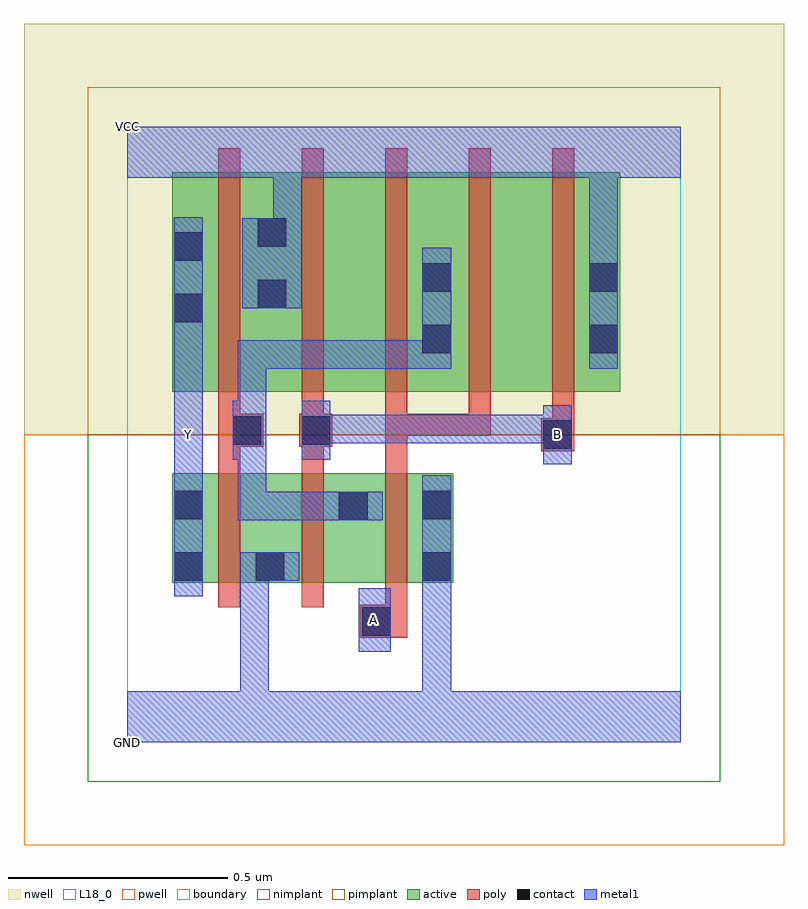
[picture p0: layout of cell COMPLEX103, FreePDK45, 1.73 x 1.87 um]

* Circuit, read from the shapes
.subckt COMPLEX103 A B GND VCC Y
M1 GND n1 Y VSUBS nfet w=0.25u l=0.05u
M2 n1 B GND VSUBS nfet w=0.25u l=0.05u
M3 GND A n1 VSUBS nfet w=0.25u l=0.05u
M4 VCC n1 Y n2 pfet w=0.5u l=0.05u
M5 n3 B VCC n2 pfet w=0.5u l=0.05u
M6 n1 A n3 n2 pfet w=0.5u l=0.05u
M7 n4 A n1 n2 pfet w=0.5u l=0.05u
M8 VCC B n4 n2 pfet w=0.5u l=0.05u
.ends

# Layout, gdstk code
import gdstk
lib = gdstk.Library(unit=1e-6, precision=1e-09)
def R(c, l, rs):  # rectangles x0, y0, x1, y1
    for r in rs: c.add(gdstk.rectangle(r[:2], r[2:], *l))
def A(c, l, x, y, w, h, nx, ny, dx, dy):  # array of equal rectangles
    R(c, l, [(x+i*dx, y+j*dy, x+i*dx+w, y+j*dy+h) for i in range(nx) for j in range(ny)])
active = (1, 0)
pwell = (2, 0)
nwell = (3, 0)
nimplant = (4, 0)
pimplant = (5, 0)
poly = (9, 0)
contact = (10, 0)
metal1 = (11, 0)
L18_0 = (18, 0)
boundary = (235, 0)

complex103 = lib.new_cell('COMPLEX103')
R(complex103, active, [(0.102,0.362,0.177,0.612), (0.102,0.362,0.362,0.612), (0.287,0.362,0.552,0.612), (0.287,0.362,0.362,0.497), (0.477,0.362,0.742,0.612), (0.667,0.362,0.742,0.612), (0.477,0.395,0.552,0.575), (0.102,0.797,0.367,1.297), (0.102,0.797,0.177,1.2), (0.292,0.797,0.517,1.297), (0.517,0.797,0.742,1.297), (0.667,0.797,0.897,1.297), (0.897,0.797,1.122,1.297), (1.047,0.797,1.122,1.255), (0.292,0.807,0.367,1.255), (0.667,0.807,0.742,1.2)])
R(complex103, pwell, [(-0.235,-0.235,1.495,0.7)])
R(complex103, nwell, [(-0.235,0.7,1.495,1.635)])
R(complex103, nimplant, [(-0.09,-0.09,1.35,0.7)])
R(complex103, pimplant, [(-0.09,0.7,1.35,1.49)])
A(complex103, poly, 0.207, 0.307, 0.05, 0.36, 3, 1, 0.19, 0)
A(complex103, poly, 0.207, 0.697, 0.05, 0.095, 4, 1, 0.19, 0)
A(complex103, poly, 0.207, 0.742, 0.05, 0.61, 5, 1, 0.19, 0)
R(complex103, poly, [(0.53,0.237,0.637,0.312), (0.587,0.262,0.637,0.357), (0.207,0.617,0.257,0.722), (0.397,0.617,0.447,0.722), (0.587,0.617,0.637,0.747), (0.942,0.662,1.017,0.737), (0.207,0.672,0.31,0.747), (0.392,0.672,0.467,0.747), (0.967,0.687,1.017,0.792), (0.587,0.697,0.637,0.747), (0.587,0.697,0.827,0.747), (0.777,0.697,0.827,0.747), (0.777,0.697,0.827,0.747), (0.777,0.697,0.827,0.747)])
R(complex103, contact, [(0.535,0.242,0.6,0.307), (0.107,0.367,0.172,0.432), (0.292,0.367,0.357,0.432), (0.672,0.367,0.737,0.432), (0.482,0.505,0.547,0.57), (0.107,0.507,0.172,0.572), (0.672,0.507,0.737,0.572), (0.947,0.667,1.012,0.732), (0.24,0.677,0.305,0.742), (0.397,0.677,0.462,0.742), (0.672,0.885,0.737,0.95), (1.052,0.885,1.117,0.95), (0.107,0.955,0.172,1.02), (0.297,0.987,0.362,1.052), (0.672,1.025,0.737,1.09), (1.052,1.025,1.117,1.09), (0.107,1.095,0.172,1.16), (0.297,1.127,0.362,1.192)])
R(complex103, metal1, [(0,0,1.26,0.115), (0.257,0.05,0.322,0.115), (0.257,0.05,0.322,0.115), (0.257,0.05,0.322,0.432), (0.672,0.05,0.737,0.397), (0.527,0.205,0.6,0.35), (0.107,0.332,0.172,0.607), (0.672,0.332,0.737,0.607), (0.672,0.332,0.737,0.397), (0.672,0.332,0.737,0.397), (0.672,0.332,0.737,0.397), (0.672,0.332,0.737,0.397), (0.672,0.332,0.737,0.397), (0.672,0.332,0.737,0.397), (0.257,0.367,0.322,0.432), (0.257,0.367,0.322,0.432), (0.257,0.367,0.322,0.432), (0.257,0.367,0.322,0.432), (0.257,0.367,0.392,0.432), (0.252,0.505,0.317,0.57), (0.252,0.505,0.455,0.57), (0.252,0.505,0.317,0.707), (0.39,0.505,0.455,0.57), (0.39,0.505,0.512,0.57), (0.447,0.505,0.582,0.57), (0.107,0.542,0.172,0.697), (0.107,0.632,0.172,0.767), (0.947,0.632,1.012,0.767), (0.24,0.642,0.305,0.777), (0.24,0.642,0.317,0.707), (0.252,0.642,0.317,0.707), (0.252,0.642,0.317,0.915), (0.397,0.642,0.462,0.777), (0.397,0.68,0.462,0.745), (0.397,0.68,0.462,0.745), (0.397,0.68,0.6,0.745), (0.535,0.68,0.6,0.745), (0.535,0.68,0.6,0.745), (0.535,0.68,0.6,0.745), (0.535,0.68,0.875,0.745), (0.81,0.68,1.012,0.745), (0.81,0.68,0.875,0.745), (0.81,0.68,0.875,0.745), (0.81,0.68,0.875,0.745), (0.107,0.702,0.172,0.985), (0.252,0.85,0.317,0.915), (0.252,0.85,0.455,0.915), (0.39,0.85,0.455,0.915), (0.39,0.85,0.455,0.915), (0.39,0.85,0.455,0.915), (0.39,0.85,0.737,0.915), (0.672,0.85,0.737,1.125), (0.672,0.85,0.737,0.915), (0.672,0.85,0.737,0.915), (1.052,0.85,1.117,1.125), (0.107,0.92,0.172,1.195), (0.262,0.987,0.397,1.192), (1.052,1.06,1.117,1.35), (0.332,1.127,0.397,1.35), (0,1.285,1.26,1.4)])
R(complex103, L18_0, [(0,0,1.26,0.115), (0.257,0.05,0.322,0.115), (0.257,0.05,0.322,0.115), (0.257,0.05,0.322,0.432), (0.672,0.05,0.737,0.397), (0.527,0.205,0.6,0.35), (0.527,0.247,0.592,0.312), (0.107,0.332,0.172,0.607), (0.672,0.332,0.737,0.607), (0.672,0.332,0.737,0.397), (0.672,0.332,0.737,0.397), (0.672,0.332,0.737,0.397), (0.672,0.332,0.737,0.397), (0.672,0.332,0.737,0.397), (0.672,0.332,0.737,0.397), (0.257,0.367,0.322,0.432), (0.257,0.367,0.322,0.432), (0.257,0.367,0.322,0.432), (0.257,0.367,0.322,0.432), (0.257,0.367,0.392,0.432), (0.107,0.542,0.172,0.697), (0.107,0.632,0.172,0.767), (0.947,0.632,1.012,0.767), (0.397,0.642,0.462,0.777), (0.107,0.667,0.172,0.732), (0.947,0.667,1.012,0.732), (0.397,0.68,0.462,0.745), (0.397,0.68,0.462,0.745), (0.397,0.68,0.6,0.745), (0.535,0.68,0.6,0.745), (0.535,0.68,0.6,0.745), (0.535,0.68,0.6,0.745), (0.535,0.68,0.875,0.745), (0.81,0.68,0.875,0.745), (0.81,0.68,0.875,0.745), (0.81,0.68,0.875,0.745), (0.81,0.68,1.012,0.745), (0.107,0.702,0.172,0.985), (1.052,0.85,1.117,1.125), (0.107,0.92,0.172,1.195), (0.262,0.987,0.397,1.192), (1.052,1.06,1.117,1.35), (0.332,1.127,0.397,1.35), (0,1.285,1.26,1.4)])
R(complex103, boundary, [(0,0,1.26,1.4)])
complex103.add(gdstk.Label('A', (0.56,0.28), layer=11, texttype=0))
complex103.add(gdstk.Label('B', (0.98,0.7), layer=11, texttype=0))
complex103.add(gdstk.Label('Y', (0.14,0.7), layer=11, texttype=0))
complex103.add(gdstk.Label('VCC', (0,1.4), layer=11, texttype=0))
complex103.add(gdstk.Label('GND', (0,0), layer=11, texttype=0))

lib.write_gds('COMPLEX103.gds')
